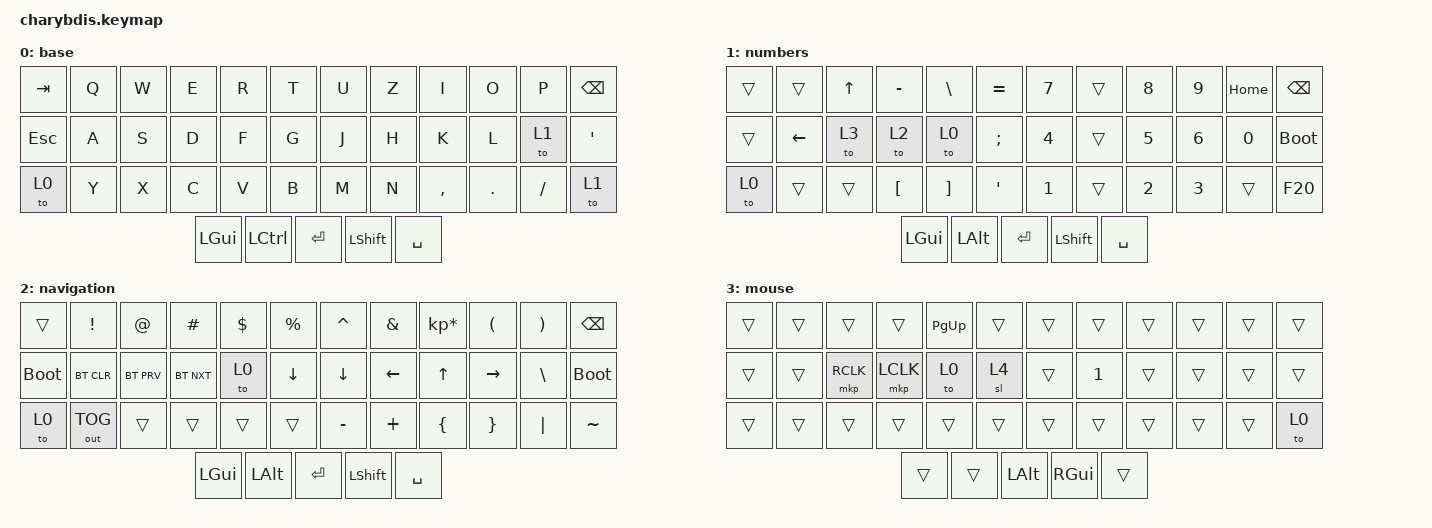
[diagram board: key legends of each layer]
#include <behaviors.dtsi>
#include <dt-bindings/zmk/mouse.h>
#include <dt-bindings/zmk/keys.h>
#include <dt-bindings/zmk/bt.h>
#include <dt-bindings/zmk/outputs.h>
#include <dt-bindings/zmk/keys.h>

&lt {
    tapping-term-ms = <240>;
    flavor = "balanced";
    quick-tap-ms = <150>;
};

/ {
    keymap {
        compatible = "zmk,keymap";

        Base {
            label = "base";
            bindings = <
  &kp TAB   &kp Q  &kp W      &kp E      &kp R  &kp T    &kp U    &kp Z      &kp I    &kp O     &kp P    &kp BSPC
  &kp ESC   &kp A  &kp S      &kp D      &kp F  &kp G    &kp J    &kp H      &kp K    &kp L  &to 1    &kp APOS
&to 0   &kp Y  &kp X      &kp C      &kp V  &kp B    &kp M    &kp N  &kp COMMA  &kp DOT  &kp FSLH  &to 1
                         &kp LGUI  &kp LCTRL  &kp ENTER   &kp LSHFT  &kp SPACE
            >;

            trackball-bindings = <&tmv_coarse> ;
        };

        Lower {
            label = "numbers";
            bindings = <
      &trans  &trans    &kp UP    &kp MINUS   &kp BSLH      &kp EQUAL     &kp N7   &trans   &kp N8  &kp N9  &kp HOME   &kp BSPC
      &trans  &kp LEFT  &to 3  &to 2     &to 0        &kp SEMI        &kp N4   &trans   &kp N5  &kp N6   &kp N0  &bootloader
      &to 0    &trans    &trans     &kp LBKT  &kp RBKT    &kp SQT    &kp N1   &trans   &kp N2  &kp N3    &trans  &kp F20
                                   &kp LGUI  &kp LALT    &kp ENTER    &kp LSHFT &kp SPACE
            >;   
        };

        Raise {
            label = "navigation";
            bindings = <
  &trans        &kp EXCL      &kp AT      &kp HASH       &kp DLLR      &kp PRCNT    &kp CARET   &kp AMPS  &kp KP_MULTIPLY  &kp LPAR  &kp RPAR    &kp BSPC
  &bootloader    &bt BT_CLR   &bt BT_PRV  &bt BT_NXT     &to 0         &kp DOWN    &kp DOWN   &kp LEFT     &kp UP  &kp RIGHT  &kp BSLH  &bootloader
  &to 0  &out OUT_TOG  &trans      &trans     &trans        &trans     &kp MINUS   &kp PLUS         &kp LBRC  &kp RBRC  &kp PIPE  &kp TILDE
                                     &kp LGUI  &kp LALT  &kp ENTER       &kp LSHFT    &kp SPACE
            >;
        };

        Mouse {
            label = "mouse";
            bindings = <
&trans  &trans  &trans     &trans     &kp PG_UP  &trans         &trans  &trans  &trans  &trans  &trans  &trans
&trans  &trans  &mkp RCLK  &mkp LCLK  &to 0      &sl 4         &trans  &kp N1  &trans  &trans  &trans  &trans
&trans  &trans  &trans  &trans  &trans        &trans         &trans  &trans  &trans  &trans  &trans   &to 0
                        &trans  &trans  &kp LEFT_ALT       &kp RGUI  &trans
            >;
        };

    };
};
